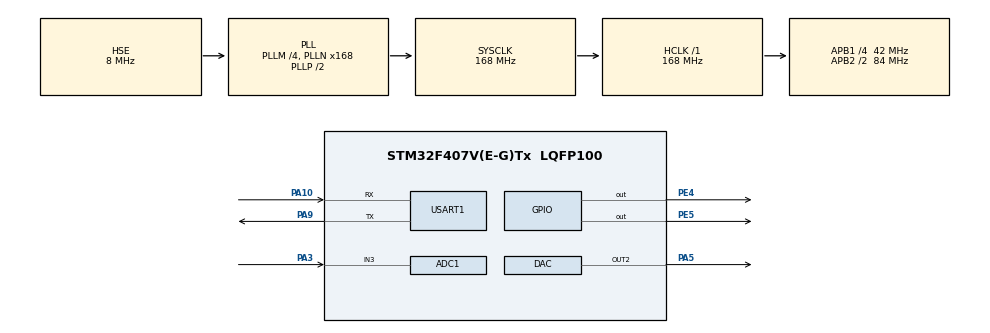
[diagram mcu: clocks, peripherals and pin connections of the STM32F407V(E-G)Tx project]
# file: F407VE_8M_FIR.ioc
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ADC1.Channel-2\#ChannelRegularConversion=ADC_CHANNEL_3
ADC1.DMAContinuousRequests=DISABLE
ADC1.ExternalTrigConv=ADC_EXTERNALTRIGCONV_T2_TRGO
ADC1.NbrOfConversion=1
ADC1.NbrOfConversionFlag=1
ADC1.Rank-2\#ChannelRegularConversion=1
ADC1.SamplingTime-2\#ChannelRegularConversion=ADC_SAMPLETIME_3CYCLES
ADC1.master=1
DAC.DAC_OutputBuffer2=DAC_OUTPUTBUFFER_DISABLE
Mcu.Family=STM32F4
Mcu.Name=STM32F407V(E-G)Tx
Mcu.Package=LQFP100
NVIC.PriorityGroup=NVIC_PRIORITYGROUP_4
NVIC.USART1_IRQn=true\:0\:0\:false\:false\:true\:true\:true
PA10.Mode=Asynchronous
PA10.Signal=USART1_RX
PA13.Mode=Serial_Wire
PA13.Signal=SYS_JTMS-SWDIO
PA14.Mode=Serial_Wire
PA14.Signal=SYS_JTCK-SWCLK
PA3.Signal=ADCx_IN3
PA5.Signal=COMP_DAC2_group
PA9.Mode=Asynchronous
PA9.Signal=USART1_TX
PC14-OSC32_IN.Mode=LSE-External-Oscillator
PC14-OSC32_IN.Signal=RCC_OSC32_IN
PC15-OSC32_OUT.Mode=LSE-External-Oscillator
PC15-OSC32_OUT.Signal=RCC_OSC32_OUT
PE4.GPIO_ModeDefaultOutputPP=GPIO_MODE_OUTPUT_PP
PE4.GPIO_PuPd=GPIO_PULLUP
PE4.GPIO_Speed=GPIO_SPEED_FREQ_VERY_HIGH
PE4.PinState=GPIO_PIN_SET
PE4.Signal=GPIO_Output
PE5.GPIO_ModeDefaultOutputPP=GPIO_MODE_OUTPUT_PP
PE5.GPIO_PuPd=GPIO_PULLUP
PE5.GPIO_Speed=GPIO_SPEED_FREQ_VERY_HIGH
PE5.PinState=GPIO_PIN_SET
PE5.Signal=GPIO_Output
PH0-OSC_IN.Mode=HSE-External-Oscillator
PH0-OSC_IN.Signal=RCC_OSC_IN
PH1-OSC_OUT.Mode=HSE-External-Oscillator
PH1-OSC_OUT.Signal=RCC_OSC_OUT
ProjectManager.HeapSize=0x200
ProjectManager.StackSize=0x400
ProjectManager.TargetToolchain=MDK-ARM V5.27
RCC.48MHZClocksFreq_Value=84000000
RCC.AHBFreq_Value=168000000
RCC.APB1CLKDivider=RCC_HCLK_DIV4
RCC.APB1Freq_Value=42000000
RCC.APB1TimFreq_Value=84000000
RCC.APB2CLKDivider=RCC_HCLK_DIV2
RCC.APB2Freq_Value=84000000
RCC.APB2TimFreq_Value=168000000
RCC.CortexFreq_Value=168000000
RCC.HCLKFreq_Value=168000000
RCC.HSE_VALUE=8000000
RCC.HSI_VALUE=16000000
RCC.PLLM=4
RCC.PLLN=168
RCC.PLLSourceVirtual=RCC_PLLSOURCE_HSE
RCC.SYSCLKFreq_VALUE=168000000
RCC.SYSCLKSource=RCC_SYSCLKSOURCE_PLLCLK
RCC.VCOOutputFreq_Value=336000000
SH.ADCx_IN3.0=ADC1_IN3,IN3
SH.COMP_DAC2_group.0=DAC_OUT2,DAC_OUT2
TIM2.AutoReloadPreload=TIM_AUTORELOAD_PRELOAD_ENABLE
TIM2.Period=83
TIM2.Prescaler=0
TIM2.TIM_MasterOutputTrigger=TIM_TRGO_UPDATE
USART1.VirtualMode=VM_ASYNC
VP_TIM2_VS_ClockSourceINT.Mode=Internal
board=custom

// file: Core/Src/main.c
/* USER CODE BEGIN Header */
/**
  ******************************************************************************
  * @file           : main.c
  * @brief          : Main program body
  ******************************************************************************
  * @attention
  *
  * <h2><center>&copy; Copyright (c) 2021 STMicroelectronics.
  * All rights reserved.</center></h2>
  *
  * This software component is licensed by ST under BSD 3-Clause license,
  * the "License"; You may not use this file except in compliance with the
  * License. You may obtain a copy of the License at:
  *                        opensource.org/licenses/BSD-3-Clause
  *
  ******************************************************************************
  */
/* USER CODE END Header */
#include "main.h"
#include "adc.h"
#include "dac.h"
#include "tim.h"
#include "usart.h"
#include "gpio.h"

/* USER CODE BEGIN Includes */
#include "DELAY/delay.h"
#include "SIGNAL/sigio.h"
#include "Timer/timer.h"
#include "USART/myusart1.h"
#include "UTIL/util.h"
#include "arm_math.h"
/* USER CODE END Includes */

/* USER CODE BEGIN PD */
#define ARRLEN 1024
// for faster copy speed
#define ARM_MATH_LOOPUNROLL
/* USER CODE END PD */

/* USER CODE BEGIN PV */

uint16_t buf[ARRLEN * 3];
uint16_t procBuf[ARRLEN];
uint64_t testVal;

arm_fir_instance_q15 firInst;

// the firNb must be even and >= 4
// pad zero to satisfy this requirement
#define firNb 24
const uint16_t firCoef[24] = {
      192,    921,    667,      0,      0,    311,   1624,    153,      0,
        0,   5867,  13525,  13525,   5867,      0,      0,    153,   1624,
      311,      0,      0,    667,    921,    192
};

q15_t firState[ARRLEN + firNb];

/* USER CODE END PV */

void SystemClock_Config(void);

/* USER CODE BEGIN 0 */
void proc(uint16_t* addr, uint32_t len)
{
  Timer_Start();
  HAL_GPIO_WritePin(GPIOE, GPIO_PIN_4, GPIO_PIN_SET);
  arm_copy_q15(addr,procBuf,ARRLEN);
  arm_fir_fast_q15(&firInst,procBuf,addr,ARRLEN);
  HAL_GPIO_WritePin(GPIOE, GPIO_PIN_4, GPIO_PIN_RESET);
  testVal=Timer_Stop();
}
/* USER CODE END 0 */

int main(void)
{
  /* USER CODE BEGIN 1 */
  char str[64];
  /* USER CODE END 1 */

  /* MCU Configuration--------------------------------------------------------*/

  /* Reset of all peripherals, Initializes the Flash interface and the Systick. */
  HAL_Init();

  /* Configure the system clock */
  SystemClock_Config();

  /* Initialize all configured peripherals */
  MX_GPIO_Init();
  MX_USART1_UART_Init();
  MX_ADC1_Init();
  MX_DAC_Init();
  MX_TIM2_Init();
  /* USER CODE BEGIN 2 */
  Delay_Init(168);
  Timer_Init();
  arm_fir_init_q15(&firInst,firNb,firCoef,firState,ARRLEN);

  SigIO_Init(&htim2, &hadc1);
  SigIO_ProcFunc=proc;
  HAL_DAC_Start(&hdac, DAC_CHANNEL_2);
  SigIO_Start(buf, ARRLEN);

  /* USER CODE END 2 */

  /* Infinite loop */
  while (1)
  {

    /* USER CODE BEGIN 3 */
    Delay_ms(500);
    myitoa(testVal,str,10);
    MyUSART1_WriteLine(str);
  }
  /* USER CODE END 3 */
}

void SystemClock_Config(void)
{
  RCC_OscInitTypeDef RCC_OscInitStruct = {0};
  RCC_ClkInitTypeDef RCC_ClkInitStruct = {0};

  /** Configure the main internal regulator output voltage
  */
  __HAL_RCC_PWR_CLK_ENABLE();
  __HAL_PWR_VOLTAGESCALING_CONFIG(PWR_REGULATOR_VOLTAGE_SCALE1);
  /** Initializes the RCC Oscillators according to the specified parameters
  * in the RCC_OscInitTypeDef structure.
  */
  RCC_OscInitStruct.OscillatorType = RCC_OSCILLATORTYPE_HSE;
  RCC_OscInitStruct.HSEState = RCC_HSE_ON;
  RCC_OscInitStruct.PLL.PLLState = RCC_PLL_ON;
  RCC_OscInitStruct.PLL.PLLSource = RCC_PLLSOURCE_HSE;
  RCC_OscInitStruct.PLL.PLLM = 4;
  RCC_OscInitStruct.PLL.PLLN = 168;
  RCC_OscInitStruct.PLL.PLLP = RCC_PLLP_DIV2;
  RCC_OscInitStruct.PLL.PLLQ = 4;
  if (HAL_RCC_OscConfig(&RCC_OscInitStruct) != HAL_OK)
  {
    Error_Handler();
  }
  /** Initializes the CPU, AHB and APB buses clocks
  */
  RCC_ClkInitStruct.ClockType = RCC_CLOCKTYPE_HCLK|RCC_CLOCKTYPE_SYSCLK
                              |RCC_CLOCKTYPE_PCLK1|RCC_CLOCKTYPE_PCLK2;
  RCC_ClkInitStruct.SYSCLKSource = RCC_SYSCLKSOURCE_PLLCLK;
  RCC_ClkInitStruct.AHBCLKDivider = RCC_SYSCLK_DIV1;
  RCC_ClkInitStruct.APB1CLKDivider = RCC_HCLK_DIV4;
  RCC_ClkInitStruct.APB2CLKDivider = RCC_HCLK_DIV2;

  if (HAL_RCC_ClockConfig(&RCC_ClkInitStruct, FLASH_LATENCY_5) != HAL_OK)
  {
    Error_Handler();
  }
}

void Error_Handler(void)
{
  __disable_irq();
  while (1)
  {
  }
}

/************************ (C) COPYRIGHT STMicroelectronics *****END OF FILE****/
